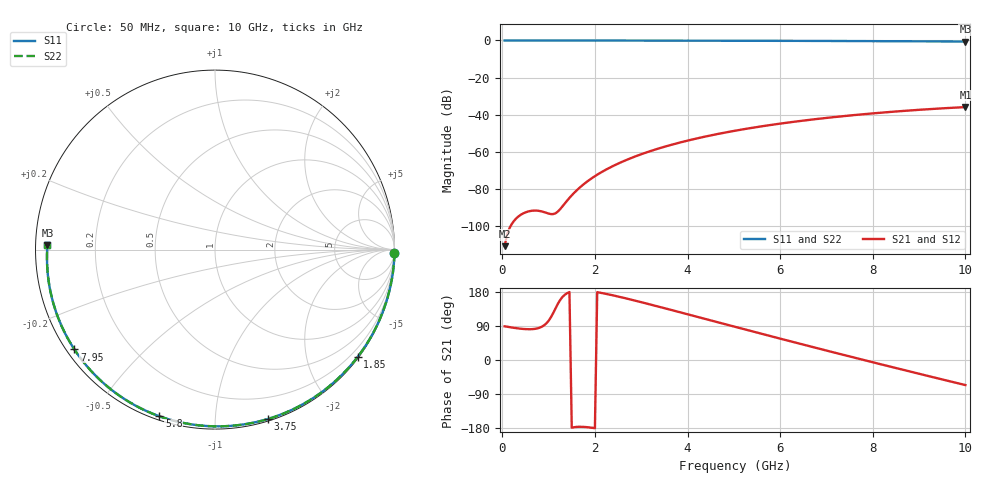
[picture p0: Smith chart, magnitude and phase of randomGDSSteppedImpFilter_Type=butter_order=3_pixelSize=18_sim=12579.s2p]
! freq	dB(S11)	phase(S11)	dB(S12)	phase(S12)
!  dB(S21)	phase(S21)	dB(S22)	phase(S22)
!S-par simulation data
#  GHz  S  DB  R 50
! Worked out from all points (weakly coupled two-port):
!   200 points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, 50 MHz to 10 GHz, reference 50 ohm
!   highest |S21| = -35.95 dB at 10 GHz (marker M1); lowest = -111.0 dB at 50 MHz (marker M2)
!   lowest |S11| = -0.6 dB at 10 GHz (marker M3), VSWR 29.28, Z = 1.71 + j0.63 ohm
!   |S11| at or under -10 dB: nowhere
!   |S22| runs from -0.6 to 0.0 dB; largest |S21 - S12| = 0
!   S11 on the Smith chart (normalised r, x): 50 MHz: open; 1.85 GHz: 0.03, -2.99; 3.75 GHz: 0.02, -1.36; 5.8 GHz: 0.02, -0.72; 7.95 GHz: 0.02, -0.32; 10 GHz: 0.03, +0.01
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0.05  -0.00 -1.0  -110.99 88.9  -110.99 88.9  -0.00 -1.0
0.4  -0.01 -8.1  -94.03 82.5  -94.03 82.5  -0.01 -8.1
0.8  -0.02 -16.2  -91.97 85.0  -91.97 85.0  -0.02 -16.2
1.2  -0.03 -24.2  -92.30 148.3  -92.30 148.3  -0.03 -24.2
1.6  -0.04 -32.0  -81.02 -176.6  -81.02 -176.6  -0.04 -32.0
1.65  -0.04 -33.0  -79.86 -176.2  -79.86 -176.2  -0.04 -33.0
1.75  -0.04 -35.0  -77.72 -176.4  -77.72 -176.4  -0.04 -35.0
1.85  -0.05 -36.9  -75.80 -177.4  -75.80 -177.4  -0.05 -36.9
2.15  -0.05 -42.8  -70.94 176.8  -70.94 176.8  -0.05 -42.8
2.5  -0.06 -49.5  -66.45 167.5  -66.45 167.5  -0.06 -49.5
2.9  -0.07 -57.0  -62.30 155.7  -62.30 155.7  -0.07 -57.0
3.4  -0.09 -66.3  -58.10 140.0  -58.10 140.0  -0.09 -66.3
3.75  -0.10 -72.7  -55.63 128.8  -55.63 128.8  -0.10 -72.7
4.4  -0.12 -84.3  -51.76 107.8  -51.76 107.8  -0.12 -84.3
5.05  -0.15 -95.7  -48.59 86.8  -48.59 86.8  -0.15 -95.7
5.8  -0.19 -108.5  -45.58 62.8  -45.58 62.8  -0.19 -108.5
6.7  -0.24 -123.6  -42.64 34.3  -42.64 34.3  -0.24 -123.6
7.35  -0.29 -134.5  -40.87 14.0  -40.87 14.0  -0.29 -134.5
7.95  -0.35 -144.6  -39.46 -4.5  -39.46 -4.5  -0.35 -144.6
8.35  -0.39 -151.5  -38.62 -16.7  -38.62 -16.7  -0.39 -151.5
9.2  -0.49 -166.5  -37.09 -42.4  -37.09 -42.4  -0.49 -166.5
10  -0.59 178.6  -35.95 -66.2  -35.95 -66.2  -0.59 178.6
